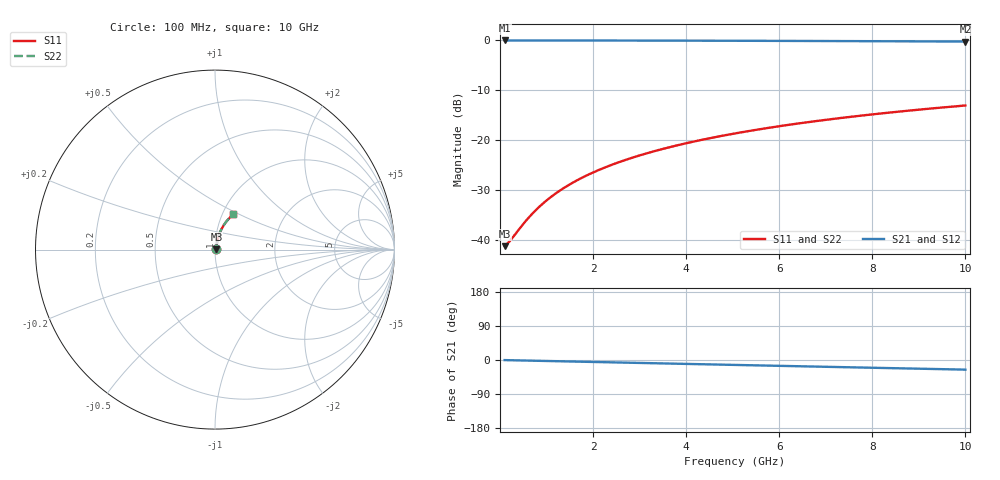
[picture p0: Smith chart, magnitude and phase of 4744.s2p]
# Hz S RI R 50.00
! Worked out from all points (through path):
!   100 points, 100 MHz to 10 GHz, reference 50 ohm
!   highest |S21| = -0.07 dB at 100 MHz (marker M1); lowest = -0.3 dB at 10 GHz (marker M2)
!   group delay of S21, straight-line fit = 7.07 ps
!   lowest |S11| = -41.3 dB at 100 MHz (marker M3), VSWR 1.02, Z = 50.8 + j0.232 ohm
!   |S11| at or under -10 dB: start of sweep to end of sweep
!   |S22| runs from -41.3 to -13.1 dB; largest |S21 - S12| = 0
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1e8  0.00832 0.00229  0.9917 -0.00447  0.9917 -0.00447  0.00832 0.00229
2e8  0.0084 0.00457  0.9916 -0.00894  0.9916 -0.00894  0.0084 0.00457
5e8  0.00872 0.0114  0.9912 -0.0223  0.9912 -0.0223  0.00872 0.0114
6e8  0.00885 0.0137  0.991 -0.0268  0.991 -0.0268  0.00885 0.0137
7e8  0.00901 0.016  0.9909 -0.0313  0.9909 -0.0313  0.00901 0.016
9e8  0.00938 0.0205  0.9904 -0.0402  0.9904 -0.0402  0.00938 0.0205
1.1e9  0.00982 0.0251  0.9899 -0.0491  0.9899 -0.0491  0.00982 0.0251
1.3e9  0.0103 0.0296  0.9892 -0.058  0.9892 -0.058  0.0103 0.0296
1.5e9  0.0109 0.0341  0.9885 -0.0669  0.9885 -0.0669  0.0109 0.0341
1.8e9  0.012 0.0409  0.9872 -0.0802  0.9872 -0.0802  0.012 0.0409
2.1e9  0.0132 0.0476  0.9857 -0.0935  0.9857 -0.0935  0.0132 0.0476
2.5e9  0.0151 0.0565  0.9833 -0.1111  0.9833 -0.1111  0.0151 0.0565
2.9e9  0.0174 0.0654  0.9806 -0.1287  0.9806 -0.1287  0.0174 0.0654
3.4e9  0.0206 0.0763  0.9766 -0.1505  0.9766 -0.1505  0.0206 0.0763
3.8e9  0.0235 0.0849  0.9729 -0.1678  0.9729 -0.1678  0.0235 0.0849
4.2e9  0.0267 0.0933  0.9689 -0.185  0.9689 -0.185  0.0267 0.0933
5.1e9  0.0351 0.1119  0.9586 -0.2233  0.9586 -0.2233  0.0351 0.1119
5.9e9  0.0437 0.1277  0.9479 -0.2566  0.9479 -0.2566  0.0437 0.1277
6.7e9  0.0533 0.1428  0.9357 -0.2892  0.9357 -0.2892  0.0533 0.1428
7.5e9  0.0639 0.1571  0.9223 -0.321  0.9223 -0.321  0.0639 0.1571
8.4e9  0.077 0.1721  0.9058 -0.3558  0.9058 -0.3558  0.077 0.1721
1e10  0.1027 0.1959  0.8728 -0.4147  0.8728 -0.4147  0.1027 0.1959
